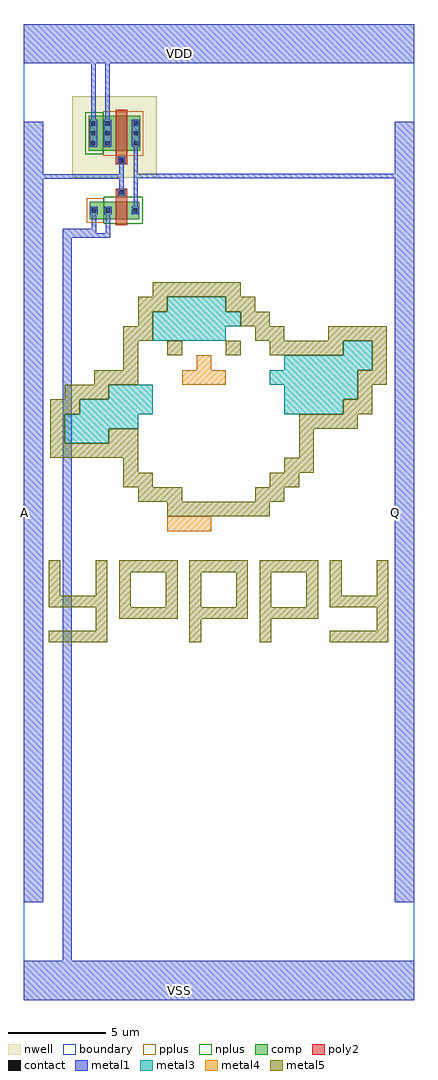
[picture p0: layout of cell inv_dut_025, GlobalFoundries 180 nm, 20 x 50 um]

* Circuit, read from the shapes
.subckt inv_dut_025 A Q VDD VSS
XM1 Q A VSS VSS nfet_03v3 w=0.9u l=0.6u
XM2 Q A VDD VDD pfet_03v3 w=1.8u l=0.6u
.ends

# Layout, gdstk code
from math import pi, radians
import gdstk
lib = gdstk.Library(unit=1e-6, precision=1e-09)
def R(c, l, rs):  # rectangles x0, y0, x1, y1
    for r in rs: c.add(gdstk.rectangle(r[:2], r[2:], *l))
def A(c, l, x, y, w, h, nx, ny, dx, dy):  # array of equal rectangles
    R(c, l, [(x+i*dx, y+j*dy, x+i*dx+w, y+j*dy+h) for i in range(nx) for j in range(ny)])
def P(c, l, *ps):  # polygons
    for p in ps: c.add(gdstk.Polygon(p, *l))
boundary = (0, 0)
nwell = (21, 0)
comp = (22, 0)
poly2 = (30, 0)
pplus = (31, 0)
nplus = (32, 0)
contact = (33, 0)
metal1 = (34, 0)
metal3 = (42, 0)
metal4 = (46, 0)
metal5 = (81, 0)

pfet = lib.new_cell('pfet')
R(pfet, nwell, [(-1.32,-1.37,3.03,2.79)])
R(pfet, comp, [(-0.46,0,2.17,1.8)])
R(pfet, poly2, [(0.19,-0.68,0.79,2.1)])
R(pfet, pplus, [(-0.63,-0.24,1.44,2.04)])
R(pfet, nplus, [(1.44,-0.17,2.34,1.97)])
A(pfet, contact, -0.34, 0.28, 0.22, 0.22, 1, 3, 0, 0.51)
A(pfet, contact, 1.1, 0.28, 0.22, 0.22, 1, 3, 0, 0.51)
A(pfet, contact, 1.83, 0.28, 0.22, 0.22, 1, 3, 0, 0.51)
R(pfet, contact, [(0.38,-0.6,0.6,-0.38)])
R(pfet, metal1, [(0.3,-0.68,0.68,-0.3), (-0.42,0.2,-0.04,1.6), (1.02,0.2,1.4,1.6), (1.75,0.2,2.13,1.6)])

nfet = lib.new_cell('nfet')
R(nfet, comp, [(-0.42,0,2.11,0.9)])
R(nfet, poly2, [(0.19,-0.3,0.79,1.56)])
R(nfet, pplus, [(1.4,-0.17,2.28,1.07)])
R(nfet, nplus, [(-0.59,-0.24,1.4,1.14)])
R(nfet, contact, [(-0.32,0.34,-0.1,0.56), (1.08,0.34,1.3,0.56), (1.79,0.34,2.01,0.56), (0.38,1.27,0.6,1.49)])
R(nfet, metal1, [(-0.4,0.26,-0.02,0.64), (1,0.26,1.38,0.64), (1.71,0.26,2.09,0.64), (0.3,1.19,0.68,1.57)])

inv_dut_025 = lib.new_cell('inv_dut_025')
R(inv_dut_025, boundary, [(-10,-25,10,25)])
R(inv_dut_025, metal1, [(-10,-25,10,-23), (-10,-20,-9,20), (9,-20,10,20), (-10,23,10,25)])
P(inv_dut_025, metal3, [(-3.395,8.77),(-3.395,10.27),(-2.645,10.27),(-2.645,11.02),(0.355,11.02),(0.355,10.27),(1.105,10.27),(1.105,9.52),(0.355,9.52),(0.355,8.77)],
  [(3.355,5.02),(3.355,6.52),(2.605,6.52),(2.605,7.27),(3.355,7.27),(3.355,8.02),(6.355,8.02),(6.355,8.77),(7.855,8.77),(7.855,7.27),(7.105,7.27),(7.105,5.77),(6.355,5.77),(6.355,5.02)],
  [(-7.895,3.52),(-7.895,5.02),(-7.145,5.02),(-7.145,5.77),(-5.645,5.77),(-5.645,6.52),(-3.395,6.52),(-3.395,5.02),(-4.145,5.02),(-4.145,4.27),(-5.645,4.27),(-5.645,3.52)])
R(inv_dut_025, metal4, [(-2.645,-0.98,-0.395,-0.23)])
P(inv_dut_025, metal4, [(-1.895,6.52),(-1.895,7.27),(-1.145,7.27),(-1.145,8.02),(-0.395,8.02),(-0.395,7.27),(0.355,7.27),(0.355,6.52)])
R(inv_dut_025, metal5, [(-2.645,8.02,-1.895,8.77), (0.355,8.02,1.105,8.77)])
P(inv_dut_025, metal5, [(-8.72,-6.68),(-8.72,-6.08),(-6.32,-6.08),(-6.32,-4.88),(-8.72,-4.88),(-8.72,-2.48),(-8.12,-2.48),(-8.12,-4.28),(-6.32,-4.28),(-6.32,-2.48),(-5.72,-2.48),(-5.72,-6.68)],
  [(5.68,-6.68),(5.68,-6.08),(8.08,-6.08),(8.08,-4.88),(5.68,-4.88),(5.68,-2.48),(6.28,-2.48),(6.28,-4.28),(8.08,-4.28),(8.08,-2.48),(8.68,-2.48),(8.68,-6.68)],
  [(2.08,-6.68),(2.08,-3.08),(2.68,-3.08),(2.68,-4.88),(4.48,-4.88),(4.48,-3.08),(2.08,-3.08),(2.08,-2.48),(5.08,-2.48),(5.08,-5.48),(2.68,-5.48),(2.68,-6.68)],
  [(-5.12,-5.48),(-5.12,-3.08),(-4.52,-3.08),(-4.52,-4.88),(-2.72,-4.88),(-2.72,-3.08),(-5.12,-3.08),(-5.12,-2.48),(-2.12,-2.48),(-2.12,-5.48)],
  [(-1.52,-6.68),(-1.52,-4.88),(-0.92,-4.88),(0.88,-4.88),(0.88,-3.08),(-0.92,-3.08),(-0.92,-4.88),(-1.52,-4.88),(-1.52,-2.48),(1.48,-2.48),(1.48,-5.48),(-0.92,-5.48),(-0.92,-6.68)],
  [(-2.645,-0.23),(-2.645,0.52),(-4.145,0.52),(-4.145,1.27),(-4.895,1.27),(-4.895,2.77),(-8.645,2.77),(-8.645,5.77),(-7.895,5.77),(-7.895,6.52),(-6.395,6.52),(-6.395,7.27),(-4.895,7.27),(-4.895,9.52),(-4.145,9.52),(-4.145,11.02),(-3.395,11.02),(-3.395,11.77),(1.105,11.77),(1.105,11.02),(1.855,11.02),(1.855,10.27),(2.605,10.27),(2.605,9.52),(3.355,9.52),(3.355,8.77),(6.355,8.77),(6.355,8.02),(2.605,8.02),(2.605,8.77),(1.855,8.77),(1.855,9.52),(1.105,9.52),(1.105,10.27),(0.355,10.27),(0.355,11.02),(-2.645,11.02),(-2.645,10.27),(-3.395,10.27),(-3.395,8.77),(-4.145,8.77),(-4.145,6.52),(-5.645,6.52),(-5.645,5.77),(-7.145,5.77),(-7.145,5.02),(-7.895,5.02),(-7.895,3.52),(-5.645,3.52),(-5.645,4.27),(-4.145,4.27),(-4.145,2.02),(-3.395,2.02),(-3.395,1.27),(-1.895,1.27),(-1.895,0.52),(1.855,0.52),(1.855,1.27),(2.605,1.27),(2.605,2.02),(3.355,2.02),(3.355,2.77),(4.105,2.77),(4.105,5.02),(6.355,5.02),(6.355,5.77),(7.105,5.77),(7.105,7.27),(7.855,7.27),(7.855,8.77),(5.605,8.77),(5.605,9.52),(8.605,9.52),(8.605,6.52),(7.855,6.52),(7.855,5.02),(7.105,5.02),(7.105,4.27),(4.855,4.27),(4.855,2.02),(4.105,2.02),(4.105,1.27),(3.355,1.27),(3.355,0.52),(2.605,0.52),(2.605,-0.23)])
inv_dut_025.add(gdstk.FlexPath([(-4.99,17.99),(-4.99,16.38)], 0.23, ends="flush", simple_path=True, layer=34, datatype=0))  # metal1
inv_dut_025.add(gdstk.FlexPath([(-4.99,17.195),(-9.495,17.195)], 0.23, ends="flush", simple_path=True, layer=34, datatype=0))  # metal1
inv_dut_025.add(gdstk.FlexPath([(-4.265,18.865),(-4.265,15.45)], 0.23, ends="flush", simple_path=True, layer=34, datatype=0))  # metal1
inv_dut_025.add(gdstk.FlexPath([(-4.23,17.21),(9.52,17.21)], 0.23, ends="flush", simple_path=True, layer=34, datatype=0))  # metal1
inv_dut_025.add(gdstk.FlexPath([(-5.705,19.91),(-5.705,23.895)], 0.23, ends="flush", simple_path=True, layer=34, datatype=0))  # metal1
inv_dut_025.add(gdstk.FlexPath([(-6.435,19.9),(-6.435,23.92)], 0.23, ends="flush", simple_path=True, layer=34, datatype=0))  # metal1
inv_dut_025.add(gdstk.FlexPath([(-6.4,15.445),(-6.4,14.385),(-7.885,14.385),(-7.885,13.915),(-7.885,13.915)], 0.23, ends="flush", simple_path=True, layer=34, datatype=0))  # metal1
inv_dut_025.add(gdstk.FlexPath([(-5.69,15.445),(-5.69,14.155),(-8,14.155),(-8,14.155)], 0.23, ends="flush", simple_path=True, layer=34, datatype=0))  # metal1
inv_dut_025.add(gdstk.FlexPath([(-7.77,14.5),(-7.77,-24.495)], 0.46, ends="flush", simple_path=True, layer=34, datatype=0))  # metal1
inv_dut_025.add(gdstk.Reference(pfet, (-4.5,18.5), rotation=pi, x_reflection=True))
inv_dut_025.add(gdstk.Reference(nfet, (-4.5,15), rotation=pi, x_reflection=True))
inv_dut_025.add(gdstk.Label('VDD', (-2,23.5), layer=34, texttype=10))
inv_dut_025.add(gdstk.Label('VSS', (-2,-24.5), layer=34, texttype=10))
inv_dut_025.add(gdstk.Label('A', (-9.97,0), layer=34, texttype=10))
inv_dut_025.add(gdstk.Label('Q', (9.03,0), layer=34, texttype=10))

lib.write_gds('inv_dut_025.gds')
